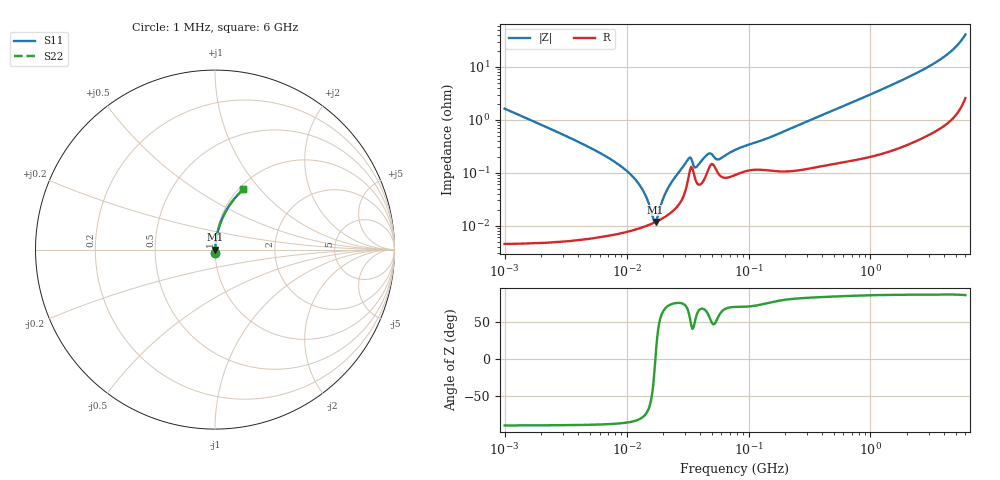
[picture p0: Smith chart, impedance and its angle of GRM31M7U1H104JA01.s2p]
!Murata Part Number: GRM31M7U1H104JA01
!These Parameters are Measured in Series Mode Connection
!Data Generated on Mar 30, 2021
!  o--ll--o
!Port1  Port2
!  o------o
!Operation Temp=25[degC], DC Bias Voltage=0[V]
!Freq. Start=1000[kHz] Stop=6[GHz] 401[Steps]
# Hz S RI R 50
!Freq.(Hz) S11(Real) S11(Imag) S21(Real) S21(Imag) S12(Real) S12(Imag) S22(Real) S22(Imag)
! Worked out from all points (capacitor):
!   401 points, 1 MHz to 6 GHz, reference 50 ohm
!   read as one part in series: C = 97.7 nF near 1.044 MHz
!   lowest |Z| = 11.7 mohm at 17.27 MHz (marker M1)
!   series resonance near 17.22 MHz, so ESL is about 870 pH
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1000000  0.000308 -0.0162  0.9997 0.0162  0.9997 0.0162  0.000308 -0.0162
4293785  6.66e-05 -0.00356  0.9999 0.00356  0.9999 0.00356  6.66e-05 -0.00356
7724414  6.93e-05 -0.00169  0.9999 0.00169  0.9999 0.00169  6.93e-05 -0.00169
1.117988e7  8.18e-05 -0.00085  0.9999 0.00085  0.9999 0.00085  8.18e-05 -0.00085
1.389603e7  9.52e-05 -0.000416  0.9999 0.000416  0.9999 0.000416  9.52e-05 -0.000416
1.483293e7  0.000101 -0.000289  0.9999 0.000289  0.9999 0.000289  0.000101 -0.000289
1.653689e7  0.000112 -7.88e-05  0.9999 7.88e-05  0.9999 7.88e-05  0.000112 -7.88e-05
1.727208e7  0.000117 5.7e-06  0.9999 -5.7e-06  0.9999 -5.7e-06  0.000117 5.7e-06
1.843659e7  0.000126 0.000134  0.9999 -0.000134  0.9999 -0.000134  0.000126 0.000134
2.011232e7  0.000141 0.000309  0.9999 -0.000309  0.9999 -0.000309  0.000141 0.000309
2.194036e7  0.000161 0.000493  0.9998 -0.000493  0.9998 -0.000493  0.000161 0.000493
3.175522e7  0.000696 0.00161  0.9993 -0.00161  0.9993 -0.00161  0.000696 0.00161
3.316698e7  0.00114 0.00157  0.9989 -0.00157  0.9989 -0.00157  0.00114 0.00157
3.697709e7  0.000704 0.00104  0.9993 -0.00104  0.9993 -0.00104  0.000704 0.00104
4.697123e7  0.00117 0.00196  0.9988 -0.00196  0.9988 -0.00196  0.00117 0.00196
5.712686e7  0.000936 0.00153  0.9991 -0.00153  0.9991 -0.00153  0.000936 0.00153
7.745967e7  0.000906 0.00253  0.9991 -0.00253  0.9991 -0.00253  0.000906 0.00253
3.325952e8  0.00133 0.0101  0.9987 -0.0101  0.9987 -0.0101  0.00133 0.0101
1.428092e9  0.00436 0.0431  0.9956 -0.0431  0.9956 -0.0431  0.00436 0.0431
3.638376e9  0.0234 0.1285  0.9766 -0.1285  0.9766 -0.1285  0.0234 0.1285
4.93336e9  0.0605 0.2144  0.9395 -0.2144  0.9395 -0.2144  0.0605 0.2144
6e9  0.1585 0.3351  0.8415 -0.3351  0.8415 -0.3351  0.1585 0.3351
